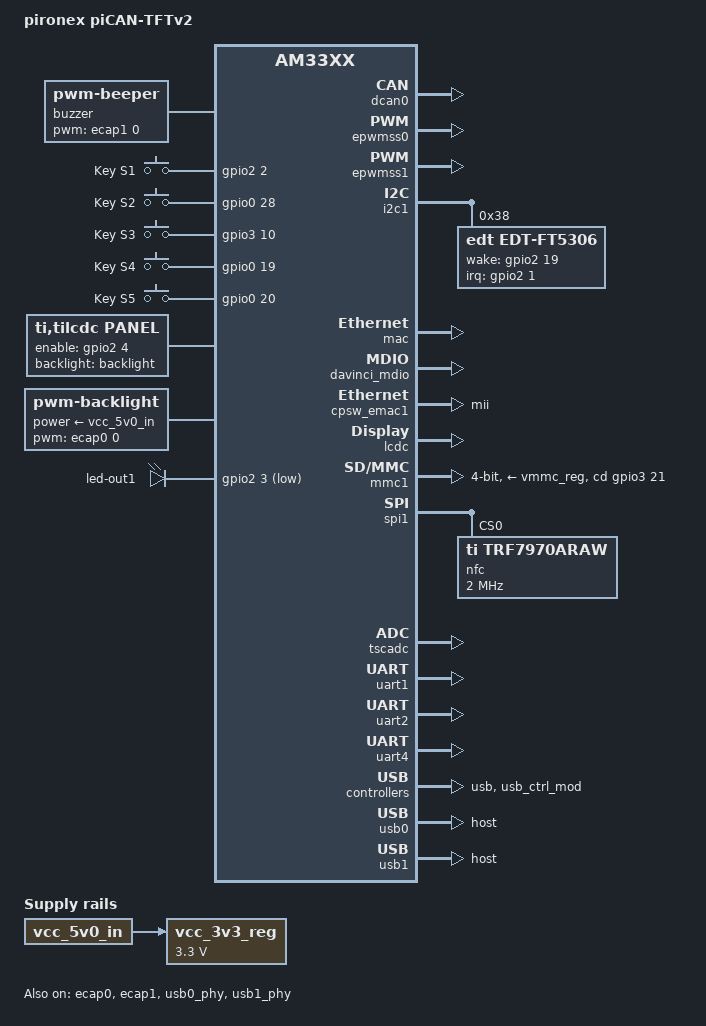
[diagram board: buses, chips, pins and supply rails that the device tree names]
/*
 * Copyright (C) 2016 pironex GmbH (http://www.pironex.de)
 *
 * This program is free software; you can redistribute it and/or modify
 * it under the terms of the GNU General Public License version 2 as
 * published by the Free Software Foundation.
 */
/dts-v1/;

#include "am335x-pia-pm.dtsi"
#include <dt-bindings/pwm/pwm.h>
#include <dt-bindings/interrupt-controller/irq.h>

/ {
	model = "pironex piCAN-TFTv2";
	compatible = "pironex,am335x-pia-cantft2", "pironex,am335x-pia-pm", "ti,am33xx";

	vcc_3v3_reg: fixedregulator@1 {
		compatible = "regulator-fixed";
		regulator-name = "vcc_3v3_reg";
		regulator-min-microvolt = <3300000>;
		regulator-max-microvolt = <3300000>;
		regulator-boot-on;
		regulator-always-on;
		vin-supply = <&vcc_5v0_in>; /* turned on with vaux2, supplied by vcc_5v0 */
	};

	buzzer: buzzer {
		compatible = "pwm-beeper";
		pwms = <&ecap1 0 500000 1>;
	};

	buttons: gpio_buttons@0 {
		compatible = "gpio-keys";
		#address-cells = <1>;
		#size-cells = <0>;

		switch@1 {
			label = "Key S1";
			linux,code = <59>; // F1
			gpios = <&gpio2 2 GPIO_ACTIVE_HIGH>;
		};
		switch@2 {
			label = "Key S2";
			linux,code = <60>; // F2
			gpios = <&gpio0 28 GPIO_ACTIVE_HIGH>;
		};
		switch@3 {
			label = "Key S3";
			linux,code = <61>; // F3
			gpios = <&gpio3 10 GPIO_ACTIVE_HIGH>;
		};
		switch@4 {
			label = "Key S4";
			linux,code = <62>;
			gpios = <&gpio0 19 GPIO_ACTIVE_HIGH>;
		};
		switch@5 {
			label = "Key S5";
			linux,code = <63>;
			gpios = <&gpio0 20 GPIO_ACTIVE_HIGH>;
		};
		// read back OUT-1 status - handled as GPIO for now
		/*switch@6 {
			label = "Key S6";
			linux,code = <64>;
			gpios = <&gpio2 0 GPIO_ACTIVE_LOW>;
		};*/
	};

	panel {
		compatible = "ti,tilcdc,panel";
		pinctrl-names = "default", "sleep";
		pinctrl-0 = <&lcd_pins_default>;
		pinctrl-1 = <&lcd_pins_sleep>;
		backlight = <&backlight>;
		enable-gpios = <&gpio2 4 GPIO_ACTIVE_HIGH>;
		status = "okay";

		panel-info {
			ac-bias           = <255>;
			ac-bias-intrpt    = <0>;
			dma-burst-sz      = <16>;
			bpp               = <32>;
			fdd               = <0x80>;
			sync-edge         = <0>;
			sync-ctrl         = <1>;
			raster-order      = <0>;
			fifo-th           = <0>;
		};

		display-timings {
			480x272 {
				hactive         = <480>;
				vactive         = <272>;
				hback-porch     = <43>; /* 2 */
				hfront-porch    = <8>; /* 2 */
				hsync-len       = <4>; /* 41 */
				vback-porch     = <12>; /* 2 */
				vfront-porch    = <4>; /* 2 */
				vsync-len       = <10>; /* 10 */
				clock-frequency = <9000000>;
				hsync-active    = <0>;
				vsync-active    = <0>;
			};
		};
	};

	backlight: backlight {
		compatible = "pwm-backlight";
		pwms = <&ecap0 0 500000 0>;
		brightness-levels = <0 58 61 66 75 90 125 170 255>;
		default-brightness-level = <8>;
		power-supply = <&vcc_5v0_in>;
	};

	/* use this when using backlight without PWM control:
	   also change pinmux!
	backlight: backlight {
		pinctrl-names = "default";
		pinctrl-0 = <&backlight_pins>;

		compatible = "gpio-backlight";
		gpios = <&gpio0 7 GPIO_ACTIVE_HIGH>;
		default-on;
	}; */
};

&am33xx_pinmux {
	pinctrl-names = "default";
	pinctrl-0 = <&board_pins &extio_pins>;

	board_pins: pinmux_board_pins {
		// TODO move to USB0?
		pinctrl-single,pins = <
			0x1e4 (PIN_INPUT_PULLDOWN | MUX_MODE7)	/* GSM_WLAN emu0.gpio3_7 */
		>;
	};

	backlight_pins: lcd_backlight_pins {
		pinctrl-single,pins = <
			0x164 (PIN_OUTPUT | MUX_MODE0)	/* ecap0_in_pwm0_out.ecap0_in_pwm0_out */
			/* 0x164 (PIN_OUTPUT | MUX_MODE7) use this when backlight as GPIO */
		>;
	};

	buzzer_pins: buzzer_pins {
		pinctrl-single,pins = <
			0x160 (PIN_OUTPUT | MUX_MODE2)	/* spi0_cs1.ecap1_in_pwm1_out MODE4 */
		>;
	};

	cpsw_default: cpsw_default {
		pinctrl-single,pins = <
			/* Slave 2 */
			0x040 (PIN_OUTPUT_PULLDOWN | MUX_MODE1)	/* gpmc_a0.gmii2_txen */
			0x044 (PIN_INPUT_PULLUP | MUX_MODE1)	/* gpmc_a1.mii2_rxdv */
			0x048 (PIN_OUTPUT_PULLDOWN | MUX_MODE1)	/* gpmc_a2.mii2_txd3 */
			0x04c (PIN_OUTPUT_PULLDOWN | MUX_MODE1)	/* gpmc_a3.mii2_txd2 */
			0x050 (PIN_OUTPUT_PULLDOWN | MUX_MODE1)	/* gpmc_a4.mii2_txd1 */
			0x054 (PIN_OUTPUT_PULLDOWN | MUX_MODE1)	/* gpmc_a5.mii2_txd0 */
			0x058 (PIN_INPUT_PULLUP | MUX_MODE1)	/* gpmc_a6.mii2_txclk */
			0x05c (PIN_INPUT_PULLUP | MUX_MODE1)	/* gpmc_a7.mii2_rxclk */
			0x060 (PIN_INPUT_PULLUP | MUX_MODE1)	/* gpmc_a8.mii2_rxd3 */
			0x064 (PIN_INPUT_PULLUP | MUX_MODE1)	/* gpmc_a9.mii2_rxd2 */
			0x068 (PIN_INPUT_PULLUP | MUX_MODE1)	/* gpmc_a10.mii2_rxd1 */
			0x06c (PIN_INPUT_PULLUP | MUX_MODE1)	/* gpmc_a11.mii2_rxd0 */
			0x070 (PIN_INPUT_PULLUP | MUX_MODE1)	/* gpmc_wait0.gmii2_crs */
			0x074 (PIN_INPUT_PULLUP | MUX_MODE1)	/* gpmc_wpn.gmii2_rxerr */
			0x078 (PIN_INPUT_PULLUP | MUX_MODE1)	/* gpmc_be1n.gmii2_col */
		>;
	};
	cpsw_sleep: cpsw_sleep {
		pinctrl-single,pins = <
			/* Slave 2 reset value */
			0x040 (PIN_INPUT_PULLDOWN | MUX_MODE7)
			0x044 (PIN_INPUT_PULLDOWN | MUX_MODE7)
			0x048 (PIN_INPUT_PULLDOWN | MUX_MODE7)
			0x04c (PIN_INPUT_PULLDOWN | MUX_MODE7)
			0x050 (PIN_INPUT_PULLDOWN | MUX_MODE7)
			0x054 (PIN_INPUT_PULLDOWN | MUX_MODE7)
			0x058 (PIN_INPUT_PULLDOWN | MUX_MODE7)
			0x05c (PIN_INPUT_PULLDOWN | MUX_MODE7)
			0x060 (PIN_INPUT_PULLDOWN | MUX_MODE7)
			0x064 (PIN_INPUT_PULLDOWN | MUX_MODE7)
			0x068 (PIN_INPUT_PULLDOWN | MUX_MODE7)
			0x06c (PIN_INPUT_PULLDOWN | MUX_MODE7)
			0x070 (PIN_INPUT_PULLDOWN | MUX_MODE7)
			0x074 (PIN_INPUT_PULLDOWN | MUX_MODE7)
			0x078 (PIN_INPUT_PULLDOWN | MUX_MODE7)
		>;
	};

	davinci_mdio_default: davinci_mdio_default {
		pinctrl-single,pins = <
			/* MDIO */
			0x148 (PIN_INPUT_PULLUP | SLEWCTRL_FAST | MUX_MODE0)	/* mdio_data.mdio_data */
			0x14c (PIN_OUTPUT_PULLUP | MUX_MODE0)			/* mdio_clk.mdio_clk */
		>;
	};
	davinci_mdio_sleep: davinci_mdio_sleep {
		pinctrl-single,pins = <
			/* MDIO reset value */
			0x148 (PIN_INPUT_PULLDOWN | MUX_MODE7)
			0x14c (PIN_INPUT_PULLDOWN | MUX_MODE7)
		>;
	};

	dcan0_pins: pinmux_dcan0_pins {
		pinctrl-single,pins = <
			0x11C (PIN_OUTPUT | MUX_MODE1)	/* mii1_txd3.dcan0_tx */
			0x120 (PIN_INPUT | MUX_MODE1)	/* mii1_txd2.dcan0_rx */
			0x134 (PIN_INPUT_PULLUP | MUX_MODE7)	/* CAN0_TERM mii1_rxd3.gpio2_18 */
		>;
	};

	edt_ft5306_ts_pins: edt_ft5306_ts_pins {
		pinctrl-single,pins = <
			0x8C (PIN_INPUT | MUX_MODE7)	/* gpmc_clk.gpio2_1 */
			0x138 (PIN_INPUT_PULLUP | MUX_MODE7) /* mii1_rxd2.gpio2_19 */
		>;
	};

	extio_pins: extio_pins {
		pinctrl-single,pins = <
			0x88  (PIN_INPUT | MUX_MODE7)	/* IN6 gpmc_csn3.gpio2_0 */
			0x90  (PIN_INPUT | MUX_MODE7)	/* IN1 gpmc_advn_ale.gpio2_2 */
			0x128 (PIN_INPUT | MUX_MODE7)	/* IN2 mii1_txd0.gpio0_28 */
			0x130 (PIN_INPUT | MUX_MODE7)	/* IN3 mii1_rxclk.gpio3_10 */
			0x1b0 (PIN_INPUT | MUX_MODE7)	/* IN4 xdma_event_intr0.gpio0_19 */
			0x1b4 (PIN_INPUT | MUX_MODE7)	/* IN5 xdma_event_intr1.gpio0_20 */
			0x1a8 (PIN_OUTPUT | MUX_MODE7)	/* CTL-I mcasp0_axr1.gpio3_20 */
			0x94 (PIN_OUTPUT | MUX_MODE7)	/* LED-OUT1 gpmc_oen_ren.gpio2_3 */
		>;
	};

	lcd_pins_default: lcd_pins_default {
		pinctrl-single,pins = <
			0x98 (PIN_OUTPUT | MUX_MODE7)	/* LCD.DISEN gpmc_wen.gpio2_4 */
			0x20 (PIN_OUTPUT | MUX_MODE1)	/* gpmc_ad8.lcd_data23 */
			0x24 (PIN_OUTPUT | MUX_MODE1)	/* gpmc_ad9.lcd_data22 */
			0x28 (PIN_OUTPUT | MUX_MODE1)	/* gpmc_ad10.lcd_data21 */
			0x2c (PIN_OUTPUT | MUX_MODE1)	/* gpmc_ad11.lcd_data20 */
			0x30 (PIN_OUTPUT | MUX_MODE1)	/* gpmc_ad12.lcd_data19 */
			0x34 (PIN_OUTPUT | MUX_MODE1)	/* gpmc_ad13.lcd_data18 */
			0x38 (PIN_OUTPUT | MUX_MODE1)	/* gpmc_ad14.lcd_data17 */
			0x3c (PIN_OUTPUT | MUX_MODE1)	/* gpmc_ad15.lcd_data16 */
			0xa0 (PIN_OUTPUT | MUX_MODE0)	/* lcd_data0.lcd_data0 */
			0xa4 (PIN_OUTPUT | MUX_MODE0)	/* lcd_data1.lcd_data1 */
			0xa8 (PIN_OUTPUT | MUX_MODE0)	/* lcd_data2.lcd_data2 */
			0xac (PIN_OUTPUT | MUX_MODE0)	/* lcd_data3.lcd_data3 */
			0xb0 (PIN_OUTPUT | MUX_MODE0)	/* lcd_data4.lcd_data4 */
			0xb4 (PIN_OUTPUT | MUX_MODE0)	/* lcd_data5.lcd_data5 */
			0xb8 (PIN_OUTPUT | MUX_MODE0)	/* lcd_data6.lcd_data6 */
			0xbc (PIN_OUTPUT | MUX_MODE0)	/* lcd_data7.lcd_data7 */
			0xc0 (PIN_OUTPUT | MUX_MODE0)	/* lcd_data8.lcd_data8 */
			0xc4 (PIN_OUTPUT | MUX_MODE0)	/* lcd_data9.lcd_data9 */
			0xc8 (PIN_OUTPUT | MUX_MODE0)	/* lcd_data10.lcd_data10 */
			0xcc (PIN_OUTPUT | MUX_MODE0)	/* lcd_data11.lcd_data11 */
			0xd0 (PIN_OUTPUT | MUX_MODE0)	/* lcd_data12.lcd_data12 */
			0xd4 (PIN_OUTPUT | MUX_MODE0)	/* lcd_data13.lcd_data13 */
			0xd8 (PIN_OUTPUT | MUX_MODE0)	/* lcd_data14.lcd_data14 */
			0xdc (PIN_OUTPUT | MUX_MODE0)	/* lcd_data15.lcd_data15 */
			0xe0 (PIN_OUTPUT | MUX_MODE0)	/* lcd_vsync.lcd_vsync */
			0xe4 (PIN_OUTPUT | MUX_MODE0)	/* lcd_hsync.lcd_hsync */
			0xe8 (PIN_OUTPUT | MUX_MODE0)	/* lcd_pclk.lcd_pclk */
			0xec (PIN_OUTPUT | MUX_MODE0)	/* lcd_ac_bias_en.lcd_ac_bias_en */
		>;
	};

	lcd_pins_sleep: lcd_pins_sleep {
		pinctrl-single,pins = <
			0x94 (PIN_INPUT_PULLDOWN | MUX_MODE7)	/* gpmc_oen_ren.gpio2_3 */
			0x20 (PIN_INPUT_PULLDOWN | MUX_MODE7)	/* gpmc_ad8.lcd_data23 */
			0x24 (PIN_INPUT_PULLDOWN | MUX_MODE7)	/* gpmc_ad9.lcd_data22 */
			0x28 (PIN_INPUT_PULLDOWN | MUX_MODE7)	/* gpmc_ad10.lcd_data21 */
			0x2c (PIN_INPUT_PULLDOWN | MUX_MODE7)	/* gpmc_ad11.lcd_data20 */
			0x30 (PIN_INPUT_PULLDOWN | MUX_MODE7)	/* gpmc_ad12.lcd_data19 */
			0x34 (PIN_INPUT_PULLDOWN | MUX_MODE7)	/* gpmc_ad13.lcd_data18 */
			0x38 (PIN_INPUT_PULLDOWN | MUX_MODE7)	/* gpmc_ad14.lcd_data17 */
			0x3c (PIN_INPUT_PULLDOWN | MUX_MODE7)	/* gpmc_ad15.lcd_data16 */
			0xa0 (PIN_INPUT_PULLDOWN | MUX_MODE7)	/* lcd_data0.lcd_data0 */
			0xa4 (PIN_INPUT_PULLDOWN | MUX_MODE7)	/* lcd_data1.lcd_data1 */
			0xa8 (PIN_INPUT_PULLDOWN | MUX_MODE7)	/* lcd_data2.lcd_data2 */
			0xac (PIN_INPUT_PULLDOWN | MUX_MODE7)	/* lcd_data3.lcd_data3 */
			0xb0 (PIN_INPUT_PULLDOWN | MUX_MODE7)	/* lcd_data4.lcd_data4 */
			0xb4 (PIN_INPUT_PULLDOWN | MUX_MODE7)	/* lcd_data5.lcd_data5 */
			0xb8 (PIN_INPUT_PULLDOWN | MUX_MODE7)	/* lcd_data6.lcd_data6 */
			0xbc (PIN_INPUT_PULLDOWN | MUX_MODE7)	/* lcd_data7.lcd_data7 */
			0xc0 (PIN_INPUT_PULLDOWN | MUX_MODE7)	/* lcd_data8.lcd_data8 */
			0xc4 (PIN_INPUT_PULLDOWN | MUX_MODE7)	/* lcd_data9.lcd_data9 */
			0xc8 (PIN_INPUT_PULLDOWN | MUX_MODE7)	/* lcd_data10.lcd_data10 */
			0xcc (PIN_INPUT_PULLDOWN | MUX_MODE7)	/* lcd_data11.lcd_data11 */
			0xd0 (PIN_INPUT_PULLDOWN | MUX_MODE7)	/* lcd_data12.lcd_data12 */
			0xd4 (PIN_INPUT_PULLDOWN | MUX_MODE7)	/* lcd_data13.lcd_data13 */
			0xd8 (PIN_INPUT_PULLDOWN | MUX_MODE7)	/* lcd_data14.lcd_data14 */
			0xdc (PIN_INPUT_PULLDOWN | MUX_MODE7)	/* lcd_data15.lcd_data15 */
			0xe0 (PIN_INPUT_PULLDOWN | MUX_MODE7)	/* lcd_vsync.lcd_vsync */
			0xe4 (PIN_INPUT_PULLDOWN | MUX_MODE7)	/* lcd_hsync.lcd_hsync */
			0xe8 (PIN_INPUT_PULLDOWN | MUX_MODE7)	/* lcd_pclk.lcd_pclk */
			0xec (PIN_INPUT_PULLDOWN | MUX_MODE7)	/* lcd_ac_bias_en.lcd_ac_bias_en */
		>;
	};

	mmc1_pins: pinmux_mmc1_pins {
		pinctrl-single,pins = <
			0x0f0 (PIN_INPUT_PULLUP | MUX_MODE0)	/* mmc0_dat0.mmc0_dat0 */
			0x0f4 (PIN_INPUT_PULLUP | MUX_MODE0)	/* mmc0_dat1.mmc0_dat1 */
			0x0f8 (PIN_INPUT_PULLUP | MUX_MODE0)	/* mmc0_dat2.mmc0_dat2 */
			0x0fc (PIN_INPUT_PULLUP | MUX_MODE0)	/* mmc0_dat3.mmc0_dat3 */
			0x100 (PIN_INPUT_PULLUP | MUX_MODE0)	/* mmc0_clk.mmc0_clk */
			0x104 (PIN_INPUT_PULLUP | MUX_MODE0)	/* mmc0_cmd.mmc0_cmd */
			0x1AC (PIN_INPUT | MUX_MODE7)		/* MMC0.CD mcasp0_ahclkx.gpio3_21 */
		>;
	};

	spi1_pins: pinmux_spi1 {
		pinctrl-single,pins = <
			0x190 (PIN_INPUT_PULLUP | MUX_MODE3)	/* mcasp0_aclkx.spi1_sclk */
			0x194 (PIN_OUTPUT | MUX_MODE3)		/* mcasp0_fsx.spi1_d0 */
			0x198 (PIN_INPUT_PULLUP | MUX_MODE3)	/* mcasp_axr0.spi1_d1 */
			0x144 (PIN_OUTPUT | MUX_MODE2)		/* rmii1_refclk.spi1_cs0 */
		>;
	};

	trf7970a_pins: pinmux_trf7970a_default {
		pinctrl-single,pins = <
			0x108 (PIN_INPUT_PULLDOWN | MUX_MODE7)	/* RFID_POW_EN mii1_col.gpio3_0 */
			0x118 (PIN_INPUT_PULLUP | MUX_MODE7)	/* RFID_IRQ mii1_rxdv.gpio3_4 */
		>;
	};

	uart1_rs485_pins: pinmux_uart1_pins {
		pinctrl-single,pins = <
			0x19C (PIN_INPUT_PULLDOWN | MUX_MODE7)	/* RS485_RES:  mcasp0_ahclkr.gpio3_17 */
			0x17C (PIN_OUTPUT | MUX_MODE7)		/* UART1.RTSn: uart1_rtsn.gpio0_13 */
			0x180 (PIN_INPUT_PULLUP | MUX_MODE0)	/* uart1_rxd.uart1_rxd */
			0x184 (PIN_OUTPUT | MUX_MODE0)		/* uart1_txd.uart1_txd */
		>;
	};

	uart2_gsm_pins: pinmux_uart2_pins {
		pinctrl-single,pins = <
			0x150 (PIN_INPUT_PULLUP | MUX_MODE1)	/* spi0_sclk.uart2_rxd */
			0x154 (PIN_OUTPUT | MUX_MODE1)		/* spi0_d0.uart2_txd */
			0x114 (PIN_INPUT | MUX_MODE7)		/* GSM_STATUS mii1_txen.gpio3_3 */
			0x12c (PIN_OUTPUT_PULLDOWN | MUX_MODE7)		/* GSM_RESET mii1_txclk.gpio3_9 */
			0x158 (PIN_OUTPUT | MUX_MODE7)		/* UART2.DTR spi0_d1.gpio0_4 */
			0x15c (PIN_INPUT_PULLUP | MUX_MODE7)	/* UART2.RI spi0_cs0.gpio0_5 */
			0x1a0 (PIN_OUTPUT_PULLDOWN | MUX_MODE7)		/* GSM_PWRKEY mcasp0_aclkr.gpio3_18 */
		>;
	};

	uart4_bt_pins: pinmux_uart4_pins {
		pinctrl-single,pins = <
			0x168 (PIN_INPUT_PULLUP | MUX_MODE1)	/* uart0_ctsn.uart4_rxd */
			0x16c (PIN_OUTPUT | MUX_MODE1)		/* uart0_rtsn.uart4_txd */
			0x178 (PIN_INPUT_PULLUP | MUX_MODE7)	/* BT_MODE uart1_ctsn.gpio0_12 */
			0x1a4 (PIN_INPUT_PULLUP | MUX_MODE7)	/* BT_RESET mcasp0_fsr.gpio3_19 */
		>;
	};

	usb0_pins: pinmux_usb0_pins {
		pinctrl-single,pins = <
			0x21c (PIN_OUTPUT | MUX_MODE0)	/* usb0_drvvbus.usb0_drvvbus */
		>;
	};

	usb1_pins: pinmux_usb1_pins {
		pinctrl-single,pins = <
			0x234 (PIN_OUTPUT | MUX_MODE0)	/* usb1_drvvbus.usb1_drvvbus */
		>;
	};
};

&dcan0 {
	pinctrl-names = "default";
	pinctrl-0 = <&dcan0_pins>;

	status = "okay";
};

&dcan1 {
	status = "disabled";
};

&epwmss0 {
	// PWM for LCD backlight
	status = "okay";
};
&ecap0 {
	status = "okay";
	pinctrl-names = "default";
	pinctrl-0 = <&backlight_pins>;
};

&epwmss1 {
	// PWM for buzzer
	status = "okay";
};
&ecap1 {
	status = "okay";
	pinctrl-names = "default";
	pinctrl-0 = <&buzzer_pins>;
};

&i2c1 {
	edt-ft5306@38 {
		status = "okay";
		compatible = "edt,edt-ft5306", "edt,edt-ft5x06";
		pinctrl-names = "default";
		pinctrl-0 = <&edt_ft5306_ts_pins>;

		reg = <0x38>;
		interrupt-parent = <&gpio2>;
		interrupts = <1 IRQ_TYPE_EDGE_FALLING>;

		wake-gpios = <&gpio2 19 GPIO_ACTIVE_HIGH>;

		touchscreen-size-x = <480>;
		touchscreen-size-y = <272>;
	};
};

&leds {
	led@2 {
		label = "led-out1";
		gpios = <&gpio2 3 GPIO_ACTIVE_LOW>;
		linux,default-trigger = "none";
		default-state = "off";
	};
};

&mac {
	pinctrl-names = "default", "sleep";
	pinctrl-0 = <&cpsw_default>;
	pinctrl-1 = <&cpsw_sleep>;
	active_slave = <1>; /* only MII2 connected */

	status = "okay";
};

&davinci_mdio {
	pinctrl-names = "default", "sleep";
	pinctrl-0 = <&davinci_mdio_default>;
	pinctrl-1 = <&davinci_mdio_sleep>;

	status = "okay";
};

&cpsw_emac1 {
	phy_id = <&davinci_mdio>, <0>;
	phy-mode = "mii";
};

&lcdc {
	blue-and-red-wiring = "crossed";
	status = "okay";
};

/* uSD */
&mmc1 {
	vmmc-supply = <&vmmc_reg>;
	bus-width = <4>; /* 4 data lines */
	pinctrl-names = "default";
	pinctrl-0 = <&mmc1_pins>;
	cd-gpios = <&gpio3 21 GPIO_ACTIVE_HIGH>;

	status = "okay";
};

&spi0 {
	// was enabled in PM dtsi
	status = "disabled";
};

&spi1 {
	pinctrl-names = "default";
	pinctrl-0 = <&spi1_pins>;
	ti,pindir-d0-out-d1-in;

	status = "okay";

	nfc@0 {
		pinctrl-0 = <&trf7970a_pins>;
		pinctrl-names = "default";
		compatible = "ti,trf7970araw";
		reg = <0>;
		spi-max-frequency = <2000000>;
		status = "ok";
	};

};

&tscadc {
	status = "okay";

	tsc {
		ti,wires = <4>;
		ti,x-plate-resistance = <200>;
		ti,coordinate-readouts = <5>;
		ti,wire-config = <0x01 0x10 0x22 0x33>;
	};
};

/* RS485 */
&uart1 {
	pinctrl-names = "default";
	pinctrl-0 = <&uart1_rs485_pins>;

	rts-gpio = <&gpio0 13 GPIO_ACTIVE_HIGH>;
	rs485-rts-active-high;
	rs485-rts-delay = <1 0>;
	linux,rs485-enabled-at-boot-time;

	status = "okay";
};

/* SIMCOM GSM AT */
&uart2 {
	pinctrl-names = "default";
	pinctrl-0 = <&uart2_gsm_pins>;

	status = "okay";
};

/* BT */
&uart4 {
	pinctrl-names = "default";
	pinctrl-0 = <&uart4_bt_pins>;

	status = "okay";
};

&usb {
	status = "okay";
};
&usb_ctrl_mod {
	status = "okay";
};
&usb0_phy {
	pinctrl-names = "default";
	pinctrl-0 = <&usb0_pins>;

	status = "okay";
};
&usb1_phy {
	pinctrl-names = "default";
	pinctrl-0 = <&usb1_pins>;

	status = "okay";
};

&usb0 {
	status = "okay";
	dr_mode = "host";
};

&usb1 {
	status = "okay";
	dr_mode = "host";
};

&cppi41dma  {
	status = "okay";
};

